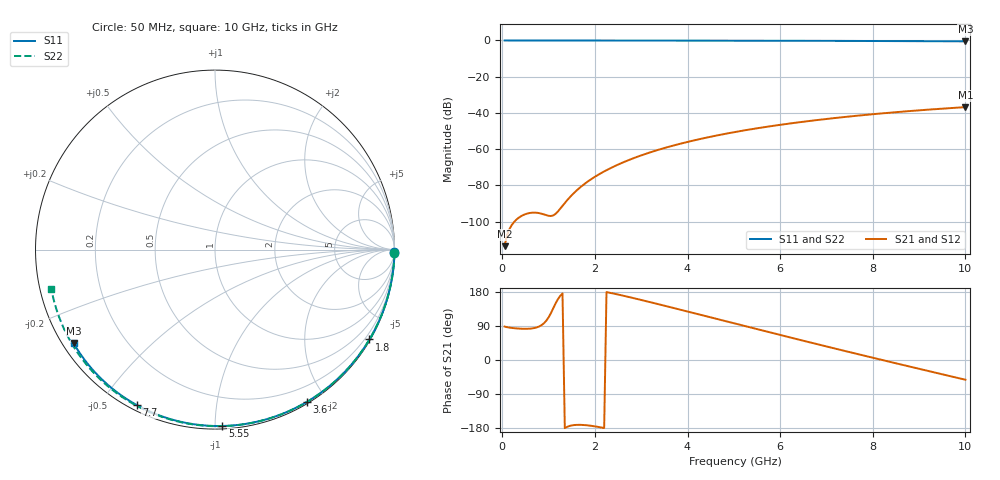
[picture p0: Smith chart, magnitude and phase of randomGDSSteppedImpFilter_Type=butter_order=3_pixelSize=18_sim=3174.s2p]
! freq	dB(S11)	phase(S11)	dB(S12)	phase(S12)
!  dB(S21)	phase(S21)	dB(S22)	phase(S22)
!S-par simulation data
#  GHz  S  DB  R 50
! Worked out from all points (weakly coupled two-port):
!   200 points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, 50 MHz to 10 GHz, reference 50 ohm
!   highest |S21| = -36.80 dB at 10 GHz (marker M1); lowest = -113.5 dB at 50 MHz (marker M2)
!   lowest |S11| = -0.5 dB at 10 GHz (marker M3), VSWR 35.12, Z = 1.55 - j15 ohm
!   |S11| at or under -10 dB: nowhere
!   |S22| runs from -0.6 to 0.0 dB; largest |S21 - S12| = 0
!   S11 on the Smith chart (normalised r, x): 50 MHz: open; 1.8 GHz: 0.03, -3.71; 3.6 GHz: 0.02, -1.77; 5.55 GHz: 0.02, -1.04; 7.7 GHz: 0.02, -0.61; 10 GHz: 0.03, -0.30
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0.05  -0.00 -0.9  -113.52 88.2  -113.52 88.2  -0.00 -1.0
0.45  -0.01 -7.7  -96.37 82.3  -96.37 82.3  -0.01 -8.5
0.85  -0.02 -14.4  -95.62 92.2  -95.62 92.2  -0.02 -16.1
1.25  -0.03 -21.1  -92.91 169.1  -92.91 169.1  -0.03 -23.5
1.7  -0.04 -28.5  -80.69 -171.1  -80.69 -171.1  -0.04 -31.8
1.75  -0.04 -29.4  -79.67 -171.5  -79.67 -171.5  -0.04 -32.7
1.8  -0.04 -30.2  -78.70 -172.0  -78.70 -172.0  -0.04 -33.6
2.1  -0.04 -35.1  -73.70 -177.2  -73.70 -177.2  -0.05 -39.1
2.3  -0.05 -38.3  -70.94 178.0  -70.94 178.0  -0.05 -42.7
2.5  -0.05 -41.6  -68.50 172.8  -68.50 172.8  -0.06 -46.3
2.9  -0.06 -47.9  -64.35 161.4  -64.35 161.4  -0.07 -53.3
3.4  -0.07 -55.8  -60.11 146.4  -60.11 146.4  -0.08 -62.0
3.6  -0.08 -58.9  -58.64 140.3  -58.64 140.3  -0.09 -65.5
4.3  -0.10 -69.5  -54.22 118.6  -54.22 118.6  -0.11 -77.2
5.05  -0.12 -80.5  -50.41 95.3  -50.41 95.3  -0.14 -89.5
5.55  -0.14 -87.6  -48.27 79.9  -48.27 79.9  -0.16 -97.5
6.1  -0.17 -95.3  -46.20 63.0  -46.20 63.0  -0.19 -106.1
6.7  -0.20 -103.5  -44.22 44.8  -44.22 44.8  -0.23 -115.4
7.7  -0.27 -116.8  -41.43 14.8  -41.43 14.8  -0.30 -130.7
8.35  -0.32 -125.3  -39.90 -4.3  -39.90 -4.3  -0.36 -140.6
9.2  -0.40 -136.2  -38.18 -29.0  -38.18 -29.0  -0.46 -153.7
10  -0.49 -146.6  -36.80 -52.1  -36.80 -52.1  -0.56 -166.5
